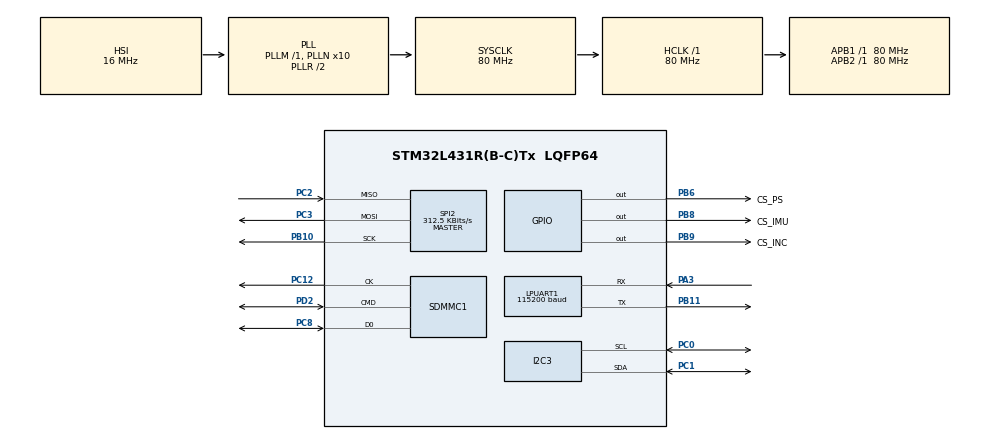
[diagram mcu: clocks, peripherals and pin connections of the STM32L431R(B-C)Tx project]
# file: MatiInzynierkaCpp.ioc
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FATFS._CODE_PAGE=437
FATFS._FS_EXFAT=1
FATFS._MAX_SS=4096
FATFS._USE_LFN=1
FATFS._USE_STRFUNC=1
I2C3.Speed=100
I2C3.Timing=0x10909CEC
LPUART1.BaudRate=115200
LPUART1.WordLength=UART_WORDLENGTH_8B
Mcu.Family=STM32L4
Mcu.Name=STM32L431R(B-C)Tx
Mcu.Package=LQFP64
NVIC.PriorityGroup=NVIC_PRIORITYGROUP_4
PA13\ (JTMS-SWDIO).Mode=Trace_Asynchronous_SW
PA13\ (JTMS-SWDIO).Signal=SYS_JTMS-SWDIO
PA14\ (JTCK-SWCLK).Mode=Trace_Asynchronous_SW
PA14\ (JTCK-SWCLK).Signal=SYS_JTCK-SWCLK
PA3.Mode=Asynchronous
PA3.Signal=LPUART1_RX
PB10.Mode=Full_Duplex_Master
PB10.Signal=SPI2_SCK
PB11.Mode=Asynchronous
PB11.Signal=LPUART1_TX
PB3\ (JTDO-TRACESWO).Mode=Trace_Asynchronous_SW
PB3\ (JTDO-TRACESWO).Signal=SYS_JTDO-SWO
PB6.GPIO_Label=CS_PS
PB6.Signal=GPIO_Output
PB8.GPIO_Label=CS_IMU
PB8.Signal=GPIO_Output
PB9.GPIO_Label=CS_INC
PB9.Signal=GPIO_Output
PC0.GPIO_Pu=GPIO_PULLUP
PC0.Mode=I2C
PC0.Signal=I2C3_SCL
PC1.GPIO_Pu=GPIO_PULLUP
PC1.Mode=I2C
PC1.Signal=I2C3_SDA
PC12.GPIO_PuPd=GPIO_PULLUP
PC12.Mode=SD_1_bit
PC12.Signal=SDMMC1_CK
PC2.Mode=Full_Duplex_Master
PC2.Signal=SPI2_MISO
PC3.Mode=Full_Duplex_Master
PC3.Signal=SPI2_MOSI
PC8.GPIO_PuPd=GPIO_PULLUP
PC8.Mode=SD_1_bit
PC8.Signal=SDMMC1_D0
PD2.GPIO_PuPd=GPIO_PULLUP
PD2.Mode=SD_1_bit
PD2.Signal=SDMMC1_CMD
PH0-OSC_IN\ (PH0).Mode=HSE-External-Oscillator
PH0-OSC_IN\ (PH0).Signal=RCC_OSC_IN
PH1-OSC_OUT\ (PH1).Mode=HSE-External-Oscillator
PH1-OSC_OUT\ (PH1).Signal=RCC_OSC_OUT
ProjectManager.HeapSize=0x200
ProjectManager.StackSize=0x400
ProjectManager.TargetToolchain=STM32CubeIDE
RCC.ADCFreq_Value=80000000
RCC.AHBFreq_Value=80000000
RCC.APB1Freq_Value=80000000
RCC.APB1TimFreq_Value=80000000
RCC.APB2Freq_Value=80000000
RCC.APB2TimFreq_Value=80000000
RCC.CortexFreq_Value=80000000
RCC.HCLKFreq_Value=80000000
RCC.HSE_VALUE=16000000
RCC.HSI48_VALUE=48000000
RCC.HSI_VALUE=16000000
RCC.LSE_VALUE=32768
RCC.MSI_VALUE=4000000
RCC.PLLN=10
RCC.PLLSAI1N=10
RCC.PLLSAI1Q=RCC_PLLQ_DIV4
RCC.PLLSourceVirtual=RCC_PLLSOURCE_HSI
RCC.SYSCLKFreq_VALUE=80000000
RCC.SYSCLKSource=RCC_SYSCLKSOURCE_PLLCLK
RCC.VCOOutputFreq_Value=160000000
SDMMC1.ClockBypass=SDMMC_CLOCK_BYPASS_ENABLE
SDMMC1.ClockDiv=4
SPI2.BaudRatePrescaler=SPI_BAUDRATEPRESCALER_256
SPI2.CLKPhase=SPI_PHASE_2EDGE
SPI2.CLKPolarity=SPI_POLARITY_HIGH
SPI2.CalculateBaudRate=312.5 KBits/s
SPI2.DataSize=SPI_DATASIZE_8BIT
SPI2.Direction=SPI_DIRECTION_2LINES
SPI2.Mode=SPI_MODE_MASTER
SPI2.VirtualType=VM_MASTER
VP_FATFS_VS_SDIO.Mode=SDIO
board=custom

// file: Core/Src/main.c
/* USER CODE BEGIN Header */
/**
 ******************************************************************************
 * @file           : main.c
 * @brief          : Main program body
 ******************************************************************************
 * @attention
 *
 * Copyright (c) 2024 STMicroelectronics.
 * All rights reserved.
 *
 * This software is licensed under terms that can be found in the LICENSE file
 * in the root directory of this software component.
 * If no LICENSE file comes with this software, it is provided AS-IS.
 *
 ******************************************************************************
 */
/* USER CODE END Header */
#include "main.h"
#include "fatfs.h"

/* USER CODE BEGIN Includes */

#define CRIT_ACC 0.8
#define CRIT_ANGLE 30
#define FILTER_A 0.04

/* USER CODE END Includes */

I2C_HandleTypeDef hi2c3;

UART_HandleTypeDef hlpuart1;

SD_HandleTypeDef hsd1;

SPI_HandleTypeDef hspi2;

void SystemClock_Config(void);
static void MX_GPIO_Init(void);
static void MX_SDMMC1_SD_Init(void);
static void MX_SPI2_Init(void);
static void MX_I2C3_Init(void);
static void MX_LPUART1_UART_Init(void);

/* USER CODE BEGIN 0 */
#define FSYS_PATH ""
FATFS SystemPlikow;
FIL Plik;
/* USER CODE END 0 */

int main(void)
{
    /* USER CODE BEGIN 1 */
    FRESULT wartoscZwracana;

    /* USER CODE END 1 */

    /* MCU Configuration--------------------------------------------------------*/

    /* Reset of all peripherals, Initializes the Flash interface and the Systick. */
    HAL_Init();

    /* Configure the system clock */
    SystemClock_Config();

    /* Initialize all configured peripherals */
    MX_GPIO_Init();
    MX_SDMMC1_SD_Init();
    MX_FATFS_Init();
    MX_SPI2_Init();
    MX_I2C3_Init();
    MX_LPUART1_UART_Init();
    /* USER CODE BEGIN 2 */

    HAL_GPIO_WritePin(CS_IMU_GPIO_Port, CS_IMU_Pin, 1);
    HAL_GPIO_WritePin(CS_PS_GPIO_Port, CS_PS_Pin, 1);
    HAL_GPIO_WritePin(CS_INC_GPIO_Port, CS_INC_Pin, 1);

    // Check I2C:
    // Set beginning altitude:

    LEDChangeState(0, 0, 0);

    // get beginning data:

    PSReading PSData;
    if (!PsPing())
    {
        PSRead(&PSData);
        PSSetSeaLevelPressure(PSData.pres);
    }
    IncInit();
    float referenceAngle = IncGetAngle();

    /* USER CODE END 2 */

    /* Infinite loop */
    /* USER CODE BEGIN WHILE */
    float filteredAlt = 0, filteredAng = 0, filteredAltOld;
    int x = 0;
    float angle;

    int criticalCounter = 0;

    while (1)
    {

        PSRead(&PSData);
        angle = IncGetAngle();

        // Filter:
        filteredAlt = filteredAlt * (1 - FILTER_A) + FILTER_A * PSData.alt;
        filteredAng = filteredAng * (1 - FILTER_A) + FILTER_A * angle;

        (void)angle;
        if (( fabs(angle-referenceAngle) > CRIT_ANGLE) || ((fabs(filteredAlt - filteredAltOld) * 10) > CRIT_ACC))
        {
            printf("STAN KRYTYCZNY!\n");
            criticalCounter++;
            if (criticalCounter > 10)
            {
                // SMT went wrong
            	printf("STAN BARDZO KRYTYCZNY!\n");
                while (1)
                {
                    for (int x = 0; x < 4; ++x)
                    {
                        for (int y = 0; y < 7; ++y)
                        {
                            LEDChangeState(x, y, 0);
                            HAL_Delay(10);
                        }
                    }
                    for (int x = 0; x < 4; ++x)
                    {
                        for (int y = 0; y < 7; ++y)
                        {
                            LEDChangeState(x, y, 1);
                            HAL_Delay(10);
                        }
                    }
                }
            }
        }
        else
        {
            criticalCounter = 0;
        }

        printf("KAT,%3.1f,WYS,%1.1f,T,%3.1f\n", filteredAng, filteredAlt, PSData.temp);

        HAL_Delay(100);
        filteredAltOld = filteredAlt;

        /* USER CODE END WHILE */

    }
}

void SystemClock_Config(void)
{
    RCC_OscInitTypeDef RCC_OscInitStruct = {0};
    RCC_ClkInitTypeDef RCC_ClkInitStruct = {0};

    /** Configure the main internal regulator output voltage
     */
    if (HAL_PWREx_ControlVoltageScaling(PWR_REGULATOR_VOLTAGE_SCALE1) != HAL_OK)
    {
        Error_Handler();
    }

    /** Initializes the RCC Oscillators according to the specified parameters
     * in the RCC_OscInitTypeDef structure.
     */
    RCC_OscInitStruct.OscillatorType = RCC_OSCILLATORTYPE_HSI;
    RCC_OscInitStruct.HSIState = RCC_HSI_ON;
    RCC_OscInitStruct.HSICalibrationValue = RCC_HSICALIBRATION_DEFAULT;
    RCC_OscInitStruct.PLL.PLLState = RCC_PLL_ON;
    RCC_OscInitStruct.PLL.PLLSource = RCC_PLLSOURCE_HSI;
    RCC_OscInitStruct.PLL.PLLM = 1;
    RCC_OscInitStruct.PLL.PLLN = 10;
    RCC_OscInitStruct.PLL.PLLP = RCC_PLLP_DIV7;
    RCC_OscInitStruct.PLL.PLLQ = RCC_PLLQ_DIV2;
    RCC_OscInitStruct.PLL.PLLR = RCC_PLLR_DIV2;
    if (HAL_RCC_OscConfig(&RCC_OscInitStruct) != HAL_OK)
    {
        Error_Handler();
    }

    /** Initializes the CPU, AHB and APB buses clocks
     */
    RCC_ClkInitStruct.ClockType = RCC_CLOCKTYPE_HCLK | RCC_CLOCKTYPE_SYSCLK | RCC_CLOCKTYPE_PCLK1 | RCC_CLOCKTYPE_PCLK2;
    RCC_ClkInitStruct.SYSCLKSource = RCC_SYSCLKSOURCE_PLLCLK;
    RCC_ClkInitStruct.AHBCLKDivider = RCC_SYSCLK_DIV1;
    RCC_ClkInitStruct.APB1CLKDivider = RCC_HCLK_DIV1;
    RCC_ClkInitStruct.APB2CLKDivider = RCC_HCLK_DIV1;

    if (HAL_RCC_ClockConfig(&RCC_ClkInitStruct, FLASH_LATENCY_4) != HAL_OK)
    {
        Error_Handler();
    }
}

static void MX_I2C3_Init(void)
{

    hi2c3.Instance = I2C3;
    hi2c3.Init.Timing = 0x10909CEC;
    hi2c3.Init.OwnAddress1 = 0;
    hi2c3.Init.AddressingMode = I2C_ADDRESSINGMODE_7BIT;
    hi2c3.Init.DualAddressMode = I2C_DUALADDRESS_DISABLE;
    hi2c3.Init.OwnAddress2 = 0;
    hi2c3.Init.OwnAddress2Masks = I2C_OA2_NOMASK;
    hi2c3.Init.GeneralCallMode = I2C_GENERALCALL_DISABLE;
    hi2c3.Init.NoStretchMode = I2C_NOSTRETCH_DISABLE;
    if (HAL_I2C_Init(&hi2c3) != HAL_OK)
    {
        Error_Handler();
    }

    /** Configure Analogue filter
     */
    if (HAL_I2CEx_ConfigAnalogFilter(&hi2c3, I2C_ANALOGFILTER_ENABLE) != HAL_OK)
    {
        Error_Handler();
    }

    /** Configure Digital filter
     */
    if (HAL_I2CEx_ConfigDigitalFilter(&hi2c3, 0) != HAL_OK)
    {
        Error_Handler();
    }
}

static void MX_LPUART1_UART_Init(void)
{

    hlpuart1.Instance = LPUART1;
    hlpuart1.Init.BaudRate = 115200;
    hlpuart1.Init.WordLength = UART_WORDLENGTH_8B;
    hlpuart1.Init.StopBits = UART_STOPBITS_1;
    hlpuart1.Init.Parity = UART_PARITY_NONE;
    hlpuart1.Init.Mode = UART_MODE_TX_RX;
    hlpuart1.Init.HwFlowCtl = UART_HWCONTROL_NONE;
    hlpuart1.Init.OneBitSampling = UART_ONE_BIT_SAMPLE_DISABLE;
    hlpuart1.AdvancedInit.AdvFeatureInit = UART_ADVFEATURE_NO_INIT;
    if (HAL_UART_Init(&hlpuart1) != HAL_OK)
    {
        Error_Handler();
    }
}

static void MX_SDMMC1_SD_Init(void)
{

    hsd1.Instance = SDMMC1;
    hsd1.Init.ClockEdge = SDMMC_CLOCK_EDGE_RISING;
    hsd1.Init.ClockBypass = SDMMC_CLOCK_BYPASS_ENABLE;
    hsd1.Init.ClockPowerSave = SDMMC_CLOCK_POWER_SAVE_DISABLE;
    hsd1.Init.BusWide = SDMMC_BUS_WIDE_1B;
    hsd1.Init.HardwareFlowControl = SDMMC_HARDWARE_FLOW_CONTROL_DISABLE;
    hsd1.Init.ClockDiv = 4;
}

static void MX_SPI2_Init(void)
{

    /* SPI2 parameter configuration*/
    hspi2.Instance = SPI2;
    hspi2.Init.Mode = SPI_MODE_MASTER;
    hspi2.Init.Direction = SPI_DIRECTION_2LINES;
    hspi2.Init.DataSize = SPI_DATASIZE_8BIT;
    hspi2.Init.CLKPolarity = SPI_POLARITY_HIGH;
    hspi2.Init.CLKPhase = SPI_PHASE_2EDGE;
    hspi2.Init.NSS = SPI_NSS_SOFT;
    hspi2.Init.BaudRatePrescaler = SPI_BAUDRATEPRESCALER_256;
    hspi2.Init.FirstBit = SPI_FIRSTBIT_MSB;
    hspi2.Init.TIMode = SPI_TIMODE_DISABLE;
    hspi2.Init.CRCCalculation = SPI_CRCCALCULATION_DISABLE;
    hspi2.Init.CRCPolynomial = 7;
    hspi2.Init.CRCLength = SPI_CRC_LENGTH_DATASIZE;
    hspi2.Init.NSSPMode = SPI_NSS_PULSE_DISABLE;
    if (HAL_SPI_Init(&hspi2) != HAL_OK)
    {
        Error_Handler();
    }
}

static void MX_GPIO_Init(void)
{
    GPIO_InitTypeDef GPIO_InitStruct = {0};

    /* GPIO Ports Clock Enable */
    __HAL_RCC_GPIOH_CLK_ENABLE();
    __HAL_RCC_GPIOC_CLK_ENABLE();
    __HAL_RCC_GPIOA_CLK_ENABLE();
    __HAL_RCC_GPIOB_CLK_ENABLE();
    __HAL_RCC_GPIOD_CLK_ENABLE();

    /*Configure GPIO pin Output Level */
    HAL_GPIO_WritePin(GPIOB, CS_PS_Pin | CS_IMU_Pin | CS_INC_Pin, GPIO_PIN_RESET);

    /*Configure GPIO pins : CS_PS_Pin CS_IMU_Pin CS_INC_Pin */
    GPIO_InitStruct.Pin = CS_PS_Pin | CS_IMU_Pin | CS_INC_Pin;
    GPIO_InitStruct.Mode = GPIO_MODE_OUTPUT_PP;
    GPIO_InitStruct.Pull = GPIO_NOPULL;
    GPIO_InitStruct.Speed = GPIO_SPEED_FREQ_LOW;
    HAL_GPIO_Init(GPIOB, &GPIO_InitStruct);

}

void Error_Handler(void)
{
    __disable_irq();
    while (1)
    {
    }
}
